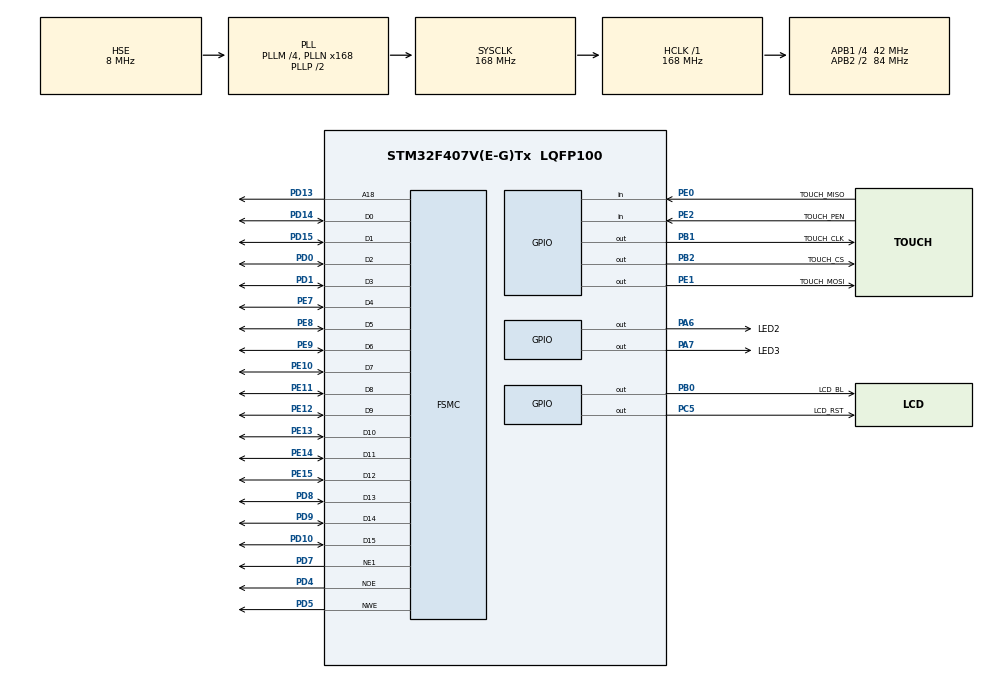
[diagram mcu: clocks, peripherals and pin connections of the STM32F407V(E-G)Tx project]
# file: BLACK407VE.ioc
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Dma.MEMTOMEM.0.Direction=DMA_MEMORY_TO_MEMORY
Dma.MEMTOMEM.0.FIFOMode=DMA_FIFOMODE_ENABLE
Dma.MEMTOMEM.0.FIFOThreshold=DMA_FIFO_THRESHOLD_FULL
Dma.MEMTOMEM.0.Instance=DMA2_Stream0
Dma.MEMTOMEM.0.MemBurst=DMA_MBURST_INC8
Dma.MEMTOMEM.0.MemDataAlignment=DMA_MDATAALIGN_HALFWORD
Dma.MEMTOMEM.0.MemInc=DMA_MINC_ENABLE
Dma.MEMTOMEM.0.Mode=DMA_NORMAL
Dma.MEMTOMEM.0.PeriphBurst=DMA_PBURST_INC8
Dma.MEMTOMEM.0.PeriphDataAlignment=DMA_PDATAALIGN_HALFWORD
Dma.MEMTOMEM.0.PeriphInc=DMA_PINC_ENABLE
Dma.MEMTOMEM.0.Priority=DMA_PRIORITY_HIGH
Dma.Request0=MEMTOMEM
FSMC.AddressSetupTime1=1
FSMC.BusTurnAroundDuration1=0
FSMC.DataSetupTime1=5
Mcu.Family=STM32F4
Mcu.Name=STM32F407V(E-G)Tx
Mcu.Package=LQFP100
NVIC.DMA2_Stream0_IRQn=true\:0\:0\:false\:false\:true\:true\:true
NVIC.PriorityGroup=NVIC_PRIORITYGROUP_4
PA13.Mode=Serial_Wire
PA13.Signal=SYS_JTMS-SWDIO
PA14.Mode=Serial_Wire
PA14.Signal=SYS_JTCK-SWCLK
PA6.GPIO_Label=LED2
PA6.Signal=GPIO_Output
PA7.GPIO_Label=LED3
PA7.Signal=GPIO_Output
PB0.GPIO_Label=LCD_BL
PB0.Signal=GPIO_Output
PB1.GPIO_Label=TOUCH_CLK
PB1.Signal=GPIO_Output
PB2.GPIO_Label=TOUCH_CS
PB2.Signal=GPIO_Output
PC14-OSC32_IN.Mode=LSE-External-Oscillator
PC14-OSC32_IN.Signal=RCC_OSC32_IN
PC15-OSC32_OUT.Mode=LSE-External-Oscillator
PC15-OSC32_OUT.Signal=RCC_OSC32_OUT
PC5.GPIO_Label=LCD_RST
PC5.Signal=GPIO_Output
PD0.Mode=16b-d1
PD0.Signal=FSMC_D2
PD1.Mode=16b-d1
PD1.Signal=FSMC_D3
PD10.Mode=16b-d1
PD10.Signal=FSMC_D15
PD13.Mode=A18_1
PD13.Signal=FSMC_A18
PD14.Mode=16b-d1
PD14.Signal=FSMC_D0
PD15.Mode=16b-d1
PD15.Signal=FSMC_D1
PD4.Mode=Lcd1
PD4.Signal=FSMC_NOE
PD5.Mode=Lcd1
PD5.Signal=FSMC_NWE
PD7.Mode=NorPsramChipSelect1_1
PD7.Signal=FSMC_NE1
PD8.Mode=16b-d1
PD8.Signal=FSMC_D13
PD9.Mode=16b-d1
PD9.Signal=FSMC_D14
PE0.GPIO_Label=TOUCH_MISO
PE0.Signal=GPIO_Input
PE1.GPIO_Label=TOUCH_MOSI
PE1.Signal=GPIO_Output
PE10.Mode=16b-d1
PE10.Signal=FSMC_D7
PE11.Mode=16b-d1
PE11.Signal=FSMC_D8
PE12.Mode=16b-d1
PE12.Signal=FSMC_D9
PE13.Mode=16b-d1
PE13.Signal=FSMC_D10
PE14.Mode=16b-d1
PE14.Signal=FSMC_D11
PE15.Mode=16b-d1
PE15.Signal=FSMC_D12
PE2.GPIO_Label=TOUCH_PEN
PE2.Signal=GPIO_Input
PE7.Mode=16b-d1
PE7.Signal=FSMC_D4
PE8.Mode=16b-d1
PE8.Signal=FSMC_D5
PE9.Mode=16b-d1
PE9.Signal=FSMC_D6
PH0-OSC_IN.Mode=HSE-External-Oscillator
PH0-OSC_IN.Signal=RCC_OSC_IN
PH1-OSC_OUT.Mode=HSE-External-Oscillator
PH1-OSC_OUT.Signal=RCC_OSC_OUT
ProjectManager.HeapSize=0x200
ProjectManager.StackSize=0x400
ProjectManager.TargetToolchain=Makefile
RCC.48MHZClocksFreq_Value=48000000
RCC.AHBFreq_Value=168000000
RCC.APB1CLKDivider=RCC_HCLK_DIV4
RCC.APB1Freq_Value=42000000
RCC.APB1TimFreq_Value=84000000
RCC.APB2CLKDivider=RCC_HCLK_DIV2
RCC.APB2Freq_Value=84000000
RCC.APB2TimFreq_Value=168000000
RCC.CortexFreq_Value=168000000
RCC.HCLKFreq_Value=168000000
RCC.HSE_VALUE=8000000
RCC.HSICalibrationValue=8
RCC.HSI_VALUE=16000000
RCC.PLLM=4
RCC.PLLN=168
RCC.PLLQ=7
RCC.PLLSourceVirtual=RCC_PLLSOURCE_HSE
RCC.RCC_RTC_Clock_Source=RCC_RTCCLKSOURCE_LSE
RCC.RCC_RTC_Clock_SourceVirtual=RCC_RTCCLKSOURCE_LSE
RCC.SYSCLKFreq_VALUE=168000000
RCC.SYSCLKSource=RCC_SYSCLKSOURCE_PLLCLK
RCC.VCOOutputFreq_Value=336000000
RTC.Hours=16
RTC.Minutes=20
RTC.StoreOperation=RTC_STOREOPERATION_SET
VP_RTC_VS_RTC_Activate.Mode=RTC_Enabled
VP_RTC_VS_RTC_Calendar.Mode=RTC_Calendar
board=custom

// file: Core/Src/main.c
/* USER CODE BEGIN Header */
/**
  ******************************************************************************
  * @file           : main.c
  * @brief          : Main program body
  ******************************************************************************
  * @attention
  *
  * <h2><center>&copy; Copyright (c) 2020 STMicroelectronics.
  * All rights reserved.</center></h2>
  *
  * This software component is licensed by ST under BSD 3-Clause license,
  * the "License"; You may not use this file except in compliance with the
  * License. You may obtain a copy of the License at:
  *                        opensource.org/licenses/BSD-3-Clause
  *
  ******************************************************************************
  */
/* USER CODE END Header */
#include "main.h"

/* USER CODE BEGIN Includes */
#include <stdio.h>
#include <string.h>

#include "ili9341.h"
#include "xpt2046.h"
#include "soft_spi_ts.h"
/* USER CODE END Includes */

RTC_HandleTypeDef hrtc;

DMA_HandleTypeDef hdma_memtomem_dma2_stream0;
SRAM_HandleTypeDef hsram1;

/* USER CODE BEGIN PV */
RTC_TimeTypeDef rtcTime;
RTC_DateTypeDef rtcDate;
//extern uint16_t tp_pressed;

/* USER CODE END PV */

void SystemClock_Config(void);
static void MX_GPIO_Init(void);
static void MX_DMA_Init(void);
static void MX_FSMC_Init(void);
static void MX_RTC_Init(void);

/* USER CODE BEGIN 0 */
extern TS_Point p; // define on __xpt2046_H
volatile bool ts_pressed;
volatile uint32_t ts_divide;
/* USER CODE END 0 */

int main(void)
{

  /* MCU Configuration--------------------------------------------------------*/

  /* Reset of all peripherals, Initializes the Flash interface and the Systick. */
  HAL_Init();

  /* Configure the system clock */
  SystemClock_Config();

  /* Initialize all configured peripherals */
  MX_GPIO_Init();
  MX_DMA_Init();
  MX_FSMC_Init();
  MX_RTC_Init();
  /* USER CODE BEGIN 2 */

  lcdBacklightOn();

  lcdInit();
  lcdSetOrientation(LCD_ORIENTATION_PORTRAIT_MIRROR);
  lcdFillRGB(COLOR_BLUE);
  lcdSetTextFont(&Font20);
  lcdSetTextColor(COLOR_CYAN, COLOR_BLUE);
  lcdFillRoundRect(160, 32, 64, 48, 8, COLOR_RED);

  /* USER CODE END 2 */

  /* Infinite loop */
  /* USER CODE BEGIN WHILE */
  while (1)  {
    get_point(&p); // get coordinates x y z from xpt2046
    lcdPrintf("X:%02i: Y:%02i\n", (uint16_t)p.x, (uint16_t)p.y);
    HAL_Delay(250);
    /* USER CODE END WHILE */

	}
}

void SystemClock_Config(void)
{
  RCC_OscInitTypeDef RCC_OscInitStruct = {0};
  RCC_ClkInitTypeDef RCC_ClkInitStruct = {0};

  /** Configure the main internal regulator output voltage
  */
  __HAL_RCC_PWR_CLK_ENABLE();
  __HAL_PWR_VOLTAGESCALING_CONFIG(PWR_REGULATOR_VOLTAGE_SCALE1);
  /** Initializes the RCC Oscillators according to the specified parameters
  * in the RCC_OscInitTypeDef structure.
  */
  RCC_OscInitStruct.OscillatorType = RCC_OSCILLATORTYPE_HSE|RCC_OSCILLATORTYPE_LSE;
  RCC_OscInitStruct.HSEState = RCC_HSE_ON;
  RCC_OscInitStruct.LSEState = RCC_LSE_ON;
  RCC_OscInitStruct.PLL.PLLState = RCC_PLL_ON;
  RCC_OscInitStruct.PLL.PLLSource = RCC_PLLSOURCE_HSE;
  RCC_OscInitStruct.PLL.PLLM = 4;
  RCC_OscInitStruct.PLL.PLLN = 168;
  RCC_OscInitStruct.PLL.PLLP = RCC_PLLP_DIV2;
  RCC_OscInitStruct.PLL.PLLQ = 7;
  if (HAL_RCC_OscConfig(&RCC_OscInitStruct) != HAL_OK)
  {
    Error_Handler();
  }
  /** Initializes the CPU, AHB and APB buses clocks
  */
  RCC_ClkInitStruct.ClockType = RCC_CLOCKTYPE_HCLK|RCC_CLOCKTYPE_SYSCLK
                              |RCC_CLOCKTYPE_PCLK1|RCC_CLOCKTYPE_PCLK2;
  RCC_ClkInitStruct.SYSCLKSource = RCC_SYSCLKSOURCE_PLLCLK;
  RCC_ClkInitStruct.AHBCLKDivider = RCC_SYSCLK_DIV1;
  RCC_ClkInitStruct.APB1CLKDivider = RCC_HCLK_DIV4;
  RCC_ClkInitStruct.APB2CLKDivider = RCC_HCLK_DIV2;

  if (HAL_RCC_ClockConfig(&RCC_ClkInitStruct, FLASH_LATENCY_5) != HAL_OK)
  {
    Error_Handler();
  }
}

static void MX_RTC_Init(void)
{

  RTC_TimeTypeDef sTime = {0};
  RTC_DateTypeDef sDate = {0};

  /** Initialize RTC Only
  */
  hrtc.Instance = RTC;
  hrtc.Init.HourFormat = RTC_HOURFORMAT_24;
  hrtc.Init.AsynchPrediv = 127;
  hrtc.Init.SynchPrediv = 255;
  hrtc.Init.OutPut = RTC_OUTPUT_DISABLE;
  hrtc.Init.OutPutPolarity = RTC_OUTPUT_POLARITY_HIGH;
  hrtc.Init.OutPutType = RTC_OUTPUT_TYPE_OPENDRAIN;
  if (HAL_RTC_Init(&hrtc) != HAL_OK)
  {
    Error_Handler();
  }

  /** Initialize RTC and set the Time and Date
  */
  sTime.Hours = 0x16;
  sTime.Minutes = 0x20;
  sTime.Seconds = 0x0;
  sTime.DayLightSaving = RTC_DAYLIGHTSAVING_NONE;
  sTime.StoreOperation = RTC_STOREOPERATION_SET;
  if (HAL_RTC_SetTime(&hrtc, &sTime, RTC_FORMAT_BCD) != HAL_OK)
  {
    Error_Handler();
  }
  sDate.WeekDay = RTC_WEEKDAY_MONDAY;
  sDate.Month = RTC_MONTH_JANUARY;
  sDate.Date = 0x1;
  sDate.Year = 0x0;

  if (HAL_RTC_SetDate(&hrtc, &sDate, RTC_FORMAT_BCD) != HAL_OK)
  {
    Error_Handler();
  }

}

static void MX_DMA_Init(void)
{

  /* DMA controller clock enable */
  __HAL_RCC_DMA2_CLK_ENABLE();

  /* Configure DMA request hdma_memtomem_dma2_stream0 on DMA2_Stream0 */
  hdma_memtomem_dma2_stream0.Instance = DMA2_Stream0;
  hdma_memtomem_dma2_stream0.Init.Channel = DMA_CHANNEL_0;
  hdma_memtomem_dma2_stream0.Init.Direction = DMA_MEMORY_TO_MEMORY;
  hdma_memtomem_dma2_stream0.Init.PeriphInc = DMA_PINC_ENABLE;
  hdma_memtomem_dma2_stream0.Init.MemInc = DMA_MINC_ENABLE;
  hdma_memtomem_dma2_stream0.Init.PeriphDataAlignment = DMA_PDATAALIGN_HALFWORD;
  hdma_memtomem_dma2_stream0.Init.MemDataAlignment = DMA_MDATAALIGN_HALFWORD;
  hdma_memtomem_dma2_stream0.Init.Mode = DMA_NORMAL;
  hdma_memtomem_dma2_stream0.Init.Priority = DMA_PRIORITY_HIGH;
  hdma_memtomem_dma2_stream0.Init.FIFOMode = DMA_FIFOMODE_ENABLE;
  hdma_memtomem_dma2_stream0.Init.FIFOThreshold = DMA_FIFO_THRESHOLD_FULL;
  hdma_memtomem_dma2_stream0.Init.MemBurst = DMA_MBURST_INC8;
  hdma_memtomem_dma2_stream0.Init.PeriphBurst = DMA_PBURST_INC8;
  if (HAL_DMA_Init(&hdma_memtomem_dma2_stream0) != HAL_OK)
  {
    Error_Handler( );
  }

  /* DMA interrupt init */
  /* DMA2_Stream0_IRQn interrupt configuration */
  HAL_NVIC_SetPriority(DMA2_Stream0_IRQn, 0, 0);
  HAL_NVIC_EnableIRQ(DMA2_Stream0_IRQn);

}

static void MX_GPIO_Init(void)
{
  GPIO_InitTypeDef GPIO_InitStruct = {0};

  /* GPIO Ports Clock Enable */
  __HAL_RCC_GPIOE_CLK_ENABLE();
  __HAL_RCC_GPIOC_CLK_ENABLE();
  __HAL_RCC_GPIOH_CLK_ENABLE();
  __HAL_RCC_GPIOA_CLK_ENABLE();
  __HAL_RCC_GPIOB_CLK_ENABLE();
  __HAL_RCC_GPIOD_CLK_ENABLE();

  /*Configure GPIO pin Output Level */
  HAL_GPIO_WritePin(GPIOA, LED2_Pin|LED3_Pin, GPIO_PIN_RESET);

  /*Configure GPIO pin Output Level */
  HAL_GPIO_WritePin(LCD_RST_GPIO_Port, LCD_RST_Pin, GPIO_PIN_RESET);

  /*Configure GPIO pin Output Level */
  HAL_GPIO_WritePin(GPIOB, LCD_BL_Pin|TOUCH_CLK_Pin|TOUCH_CS_Pin, GPIO_PIN_RESET);

  /*Configure GPIO pin Output Level */
  HAL_GPIO_WritePin(TOUCH_MOSI_GPIO_Port, TOUCH_MOSI_Pin, GPIO_PIN_RESET);

  /*Configure GPIO pins : TOUCH_PEN_Pin TOUCH_MISO_Pin */
  GPIO_InitStruct.Pin = TOUCH_PEN_Pin|TOUCH_MISO_Pin;
  GPIO_InitStruct.Mode = GPIO_MODE_INPUT;
  GPIO_InitStruct.Pull = GPIO_NOPULL;
  HAL_GPIO_Init(GPIOE, &GPIO_InitStruct);

  /*Configure GPIO pins : LED2_Pin LED3_Pin */
  GPIO_InitStruct.Pin = LED2_Pin|LED3_Pin;
  GPIO_InitStruct.Mode = GPIO_MODE_OUTPUT_PP;
  GPIO_InitStruct.Pull = GPIO_NOPULL;
  GPIO_InitStruct.Speed = GPIO_SPEED_FREQ_LOW;
  HAL_GPIO_Init(GPIOA, &GPIO_InitStruct);

  /*Configure GPIO pin : LCD_RST_Pin */
  GPIO_InitStruct.Pin = LCD_RST_Pin;
  GPIO_InitStruct.Mode = GPIO_MODE_OUTPUT_PP;
  GPIO_InitStruct.Pull = GPIO_NOPULL;
  GPIO_InitStruct.Speed = GPIO_SPEED_FREQ_LOW;
  HAL_GPIO_Init(LCD_RST_GPIO_Port, &GPIO_InitStruct);

  /*Configure GPIO pins : LCD_BL_Pin TOUCH_CLK_Pin TOUCH_CS_Pin */
  GPIO_InitStruct.Pin = LCD_BL_Pin|TOUCH_CLK_Pin|TOUCH_CS_Pin;
  GPIO_InitStruct.Mode = GPIO_MODE_OUTPUT_PP;
  GPIO_InitStruct.Pull = GPIO_NOPULL;
  GPIO_InitStruct.Speed = GPIO_SPEED_FREQ_LOW;
  HAL_GPIO_Init(GPIOB, &GPIO_InitStruct);

  /*Configure GPIO pin : TOUCH_MOSI_Pin */
  GPIO_InitStruct.Pin = TOUCH_MOSI_Pin;
  GPIO_InitStruct.Mode = GPIO_MODE_OUTPUT_PP;
  GPIO_InitStruct.Pull = GPIO_NOPULL;
  GPIO_InitStruct.Speed = GPIO_SPEED_FREQ_LOW;
  HAL_GPIO_Init(TOUCH_MOSI_GPIO_Port, &GPIO_InitStruct);

}

/* FSMC initialization function */
static void MX_FSMC_Init(void)
{

  FSMC_NORSRAM_TimingTypeDef Timing = {0};

  /** Perform the SRAM1 memory initialization sequence
  */
  hsram1.Instance = FSMC_NORSRAM_DEVICE;
  hsram1.Extended = FSMC_NORSRAM_EXTENDED_DEVICE;
  /* hsram1.Init */
  hsram1.Init.NSBank = FSMC_NORSRAM_BANK1;
  hsram1.Init.DataAddressMux = FSMC_DATA_ADDRESS_MUX_DISABLE;
  hsram1.Init.MemoryType = FSMC_MEMORY_TYPE_SRAM;
  hsram1.Init.MemoryDataWidth = FSMC_NORSRAM_MEM_BUS_WIDTH_16;
  hsram1.Init.BurstAccessMode = FSMC_BURST_ACCESS_MODE_DISABLE;
  hsram1.Init.WaitSignalPolarity = FSMC_WAIT_SIGNAL_POLARITY_LOW;
  hsram1.Init.WrapMode = FSMC_WRAP_MODE_DISABLE;
  hsram1.Init.WaitSignalActive = FSMC_WAIT_TIMING_BEFORE_WS;
  hsram1.Init.WriteOperation = FSMC_WRITE_OPERATION_ENABLE;
  hsram1.Init.WaitSignal = FSMC_WAIT_SIGNAL_DISABLE;
  hsram1.Init.ExtendedMode = FSMC_EXTENDED_MODE_DISABLE;
  hsram1.Init.AsynchronousWait = FSMC_ASYNCHRONOUS_WAIT_DISABLE;
  hsram1.Init.WriteBurst = FSMC_WRITE_BURST_DISABLE;
  hsram1.Init.PageSize = FSMC_PAGE_SIZE_NONE;
  /* Timing */
  Timing.AddressSetupTime = 1;
  Timing.AddressHoldTime = 15;
  Timing.DataSetupTime = 5;
  Timing.BusTurnAroundDuration = 0;
  Timing.CLKDivision = 16;
  Timing.DataLatency = 17;
  Timing.AccessMode = FSMC_ACCESS_MODE_A;
  /* ExtTiming */

  if (HAL_SRAM_Init(&hsram1, &Timing, NULL) != HAL_OK)
  {
    Error_Handler( );
  }

}

/* USER CODE BEGIN 4 */
void  HAL_GPIO_EXTI_Callback ( uint16_t GPIO_Pin)
{

	/*
	if (GPIO_Pin ==T_PEN_Pin){
		tp_pressed = 1;
		if(XPT2046_TouchPressed()){
			if(XPT2046_TouchGetCoordinates(&x, &y))	{
				flag1=1;

				lcdSetCursor(20,20);
				lcdPrintf("x:%03i: y:%02i", y, 320-x);
				lcdDrawPixel(y, 320-x, COLOR_RED);

			}
		}

	}
	*/
}

void LCD_DrawSpectrum(uint16_t x, uint16_t y, uint16_t width, uint16_t height, uint8_t brightness) {

    float c = 0.0f;
    uint16_t red, green, blue = 0;
    float fIncrement = 1.0 / width;
    uint16_t sixTimes = brightness * 6; //1530=255*6

	for(uint16_t i = x; i <= (x + width); i++) {

		if(c >= 0 && c <= (1/6.f)){
			red = brightness;
			green = sixTimes * c;
			blue = 0;
		} else if( c > (1/6.f) && c <= (1/3.f) ){
			red = brightness - (sixTimes * (c - 1/6.f));
			green = brightness;
			blue = 0;
		} else if( c > (1/3.f) && c <= (1/2.f)){
			red = 0;
			green = brightness;
			blue = sixTimes * (c - 1/3.f);
		} else if(c > (1/2.f) && c <= (2/3.f)) {
			red = 0;
			green = brightness - ((c - 0.5f) * sixTimes);
			blue = brightness;
		} else if( c > (2/3.f) && c <= (5/6.f) ){
			red = (c - (2/3.f)) * sixTimes;
			green = 0;
			blue = brightness;
		} else if(c > (5/6.f) && c <= 1 ){
			red = brightness;
			green = 0;
			blue = brightness - ((c - (5/6.f)) * sixTimes);
		}

		lcdDrawVLine( i, y, y+height, lcdColor565(red, green, blue));
		//HAL_Delay(1);

	  c += fIncrement;
  }

  c=0.0;

}

/* USER CODE END 4 */

void Error_Handler(void)
{
}

/************************ (C) COPYRIGHT STMicroelectronics *****END OF FILE****/
